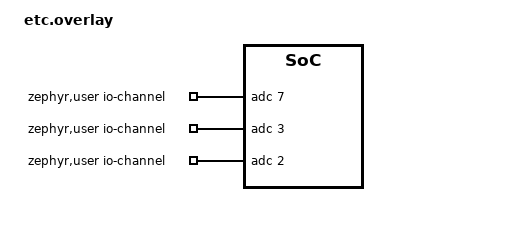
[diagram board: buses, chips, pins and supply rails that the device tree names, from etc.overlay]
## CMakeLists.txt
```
cmake_minimum_required(VERSION 3.13.1)

set(CONFIG_APPLICATION_DEFINED_SYSCALL true)

find_package(Zephyr REQUIRED HINTS $ENV{ZEPHYR_BASE})

project(etc_lwm2m)

target_sources(app PRIVATE src/main.c)
zephyr_cc_option(-Wfatal-errors)

zephyr_include_directories(src)
```

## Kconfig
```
menu "EXACT Core 2.0 LwM2M Application"

config TEST_VERSION
	string "LwM2M version"
	default "v1.0.0"

config LWM2M_USE_BOOTSTRAP
	bool "Set to true if client should use bootstrap"
	default false

config NET_DTLS_PSKID
	string "PSK ID in string format"
	default "EXACT"

config NET_DTLS_PSK
	string "PSK Key"
	default "875ba79f213ecd8c"

endmenu

menu "Zephyr Kernel"
source "$ZEPHYR_BASE/Kconfig.zephyr"
endmenu

module = ETC_LWM2M
module-str = ETC LwM2M
source "${ZEPHYR_BASE}/subsys/logging/Kconfig.template.log_config"
```

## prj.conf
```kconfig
# General config
CONFIG_NEWLIB_LIBC=y
CONFIG_NEWLIB_LIBC_FLOAT_PRINTF=y
CONFIG_ASSERT=y
CONFIG_REBOOT=y
CONFIG_RESET_ON_FATAL_ERROR=n
CONFIG_FPU=y
CONFIG_FW_INFO=y

# Heap and stacks
CONFIG_HW_STACK_PROTECTION=y

# Flash Settings
CONFIG_FLASH=y
CONFIG_FLASH_PAGE_LAYOUT=y
CONFIG_FLASH_MAP=y
CONFIG_SOC_FLASH_NRF_UICR=y
CONFIG_MPU_ALLOW_FLASH_WRITE=y
CONFIG_STREAM_FLASH_LOG_LEVEL_DBG=y

CONFIG_NET_IPV4=y
CONFIG_NET_DHCPV4=n
CONFIG_NET_IF_UNICAST_IPV4_ADDR_COUNT=3
CONFIG_NET_IF_MCAST_IPV4_ADDR_COUNT=2
```

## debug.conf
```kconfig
CONFIG_MODEM_LOG_LEVEL_DBG=y
CONFIG_MODEM_CONTEXT_VERBOSE_DEBUG=y
CONFIG_LWM2M_LOG_LEVEL_DBG=y

# CONFIG_MQTT_LOG_LEVEL_DBG=y
# CONFIG_AWS_IOT_LOG_LEVEL_DBG=y
# CONFIG_NET_CORE_LOG_LEVEL_DBG=y
# CONFIG_NET_IF_LOG_LEVEL_DBG=y
# CONFIG_NET_CONN_LOG_LEVEL_DBG=y
# CONFIG_MBEDTLS_DEBUG=y
# CONFIG_MBEDTLS_DEBUG_LEVEL=4
# CONFIG_NET_SOCKETS_LOG_LEVEL_DBG=y
# CONFIG_NET_ROUTE_LOG_LEVEL_DBG=y
# CONFIG_NET_IPV4_LOG_LEVEL_DBG=y
# CONFIG_MBEDTLS_MEMORY_DEBUG=y

# CONFIG_APP_LORA=n

# CONFIG_APP_MODEM=y
# CONFIG_APP_UI=y

# CONFIG_BQ24195_LOG_LEVEL_DBG=y
# CONFIG_I2C_SHELL=y

# CONFIG_ETC_APP_LOG_LEVEL_DBG=y
# CONFIG_LORA_LOG_LEVEL_DBG=y

# CONFIG_DATE_TIME_LOG_LEVEL_DBG=y
```

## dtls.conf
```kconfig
CONFIG_LWM2M_DTLS_SUPPORT=y
CONFIG_LWM2M_RD_CLIENT_SUPPORT=y
CONFIG_LWM2M_PEER_PORT=5684
# CONFIG_NET_SOCKETS_SOCKOPT_TLS=y

# DTLS config
CONFIG_NET_DTLS_PSKID="exact"
CONFIG_NET_DTLS_PSK="a0b1c2d3e4"
```

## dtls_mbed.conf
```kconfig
CONFIG_LWM2M_DTLS_SUPPORT=y
CONFIG_LWM2M_PEER_PORT=5684

# DTLS config
CONFIG_NET_DTLS_PSKID="bg95test"
CONFIG_NET_DTLS_PSK="a0b1c2d3e4"

# Select Zephyr mbedtls
CONFIG_MBEDTLS=y
CONFIG_MBEDTLS_TLS_VERSION_1_2=y
CONFIG_MBEDTLS_DTLS=y

# Special MbedTLS changes
CONFIG_MBEDTLS_ENABLE_HEAP=y
CONFIG_MBEDTLS_ENABLE_HEAP=y
CONFIG_MBEDTLS_HEAP_SIZE=8192
CONFIG_MBEDTLS_SSL_MAX_CONTENT_LEN=1500
CONFIG_MBEDTLS_CIPHER_CCM_ENABLED=y

# Mbed TLS support for DTLS CID
# CONFIG_MBEDTLS_SSL_PROTO_DTLS=y
# CONFIG_MBEDTLS_SSL_EXPORT_KEYS=y
# CONFIG_MBEDTLS_SSL_DTLS_CONNECTION_ID=y

# Disable RSA, we don't parse certs: saves flash/memory
CONFIG_MBEDTLS_KEY_EXCHANGE_RSA_ENABLED=n
# Enable PSK instead
CONFIG_MBEDTLS_KEY_EXCHANGE_PSK_ENABLED=y

CONFIG_NET_SOCKETS_SOCKOPT_TLS=y
CONFIG_NET_SOCKETS_TLS_MAX_CONTEXTS=4
CONFIG_NET_SOCKETS_ENABLE_DTLS=y
CONFIG_NET_SOCKETS_OFFLOAD_DISPATCHER=y
CONFIG_NET_SOCKETS_OFFLOAD_PRIORITY=50

# MbedTLS needs a larger stack
CONFIG_MAIN_STACK_SIZE=2048
CONFIG_SYSTEM_WORKQUEUE_STACK_SIZE=2048
```

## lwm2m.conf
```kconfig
CONFIG_LWM2M=y
CONFIG_LWM2M_VERSION_1_1=y
CONFIG_ZCBOR_CANONICAL=y
CONFIG_LWM2M_RW_SENML_CBOR_SUPPORT=y
CONFIG_LWM2M_DNS_SUPPORT=y
CONFIG_LWM2M_RD_CLIENT_SUPPORT_BOOTSTRAP=n
CONFIG_LWM2M_LOG_LEVEL_DBG=y
CONFIG_LWM2M_COAP_BLOCK_SIZE=512
CONFIG_LWM2M_IPSO_SUPPORT=y
CONFIG_LWM2M_IPSO_TEMP_SENSOR=y
CONFIG_LWM2M_IPSO_LIGHT_CONTROL=y
CONFIG_LWM2M_IPSO_TIMER=y
CONFIG_LWM2M_SHELL=y
CONFIG_LWM2M_USE_BOOTSTRAP=n

CONFIG_COAP_INIT_ACK_TIMEOUT_MS=20000
```

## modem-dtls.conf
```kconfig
CONFIG_MODEM_QUECTEL_BG95_M3_PSK_ID="exact-dtls"
#CONFIG_MODEM_QUECTEL_BG95_M3_PSK_KEY="e4d3c2b1a0"
CONFIG_MODEM_QUECTEL_BG95_M3_PSK_KEY="a0b1c2d3e4"
```

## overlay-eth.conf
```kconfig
CONFIG_ENTROPY_GENERATOR=y
CONFIG_INIT_STACKS=y

CONFIG_NET_LOG=y
CONFIG_LOG=y

CONFIG_NET_STATISTICS=y

CONFIG_NET_SHELL=y

CONFIG_NET_L2_ETHERNET=y

CONFIG_ETH_NATIVE_POSIX=y
CONFIG_ETH_NATIVE_POSIX_RANDOM_MAC=y
#CONFIG_ETH_NATIVE_POSIX_MAC_ADDR="00:00:5e:00:53:ff"
```

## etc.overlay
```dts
/ {
	chosen {
	};
};


/* A7 = P0.31 = AIN7 - ADC_AMB */ 
/* A3 = P0.5  = AIN3 - ADC_BATT*/
/* A2 = P0.4 = AIN2 - ADC_TH*/
/ {
	zephyr,user {
		/* adjust channel number according to pinmux in board.dts */
		io-channels = <&adc 7>, <&adc 3>, <&adc 2>;
	};
};
```

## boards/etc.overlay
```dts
/ {
	chosen {
		nordic,pm-ext-flash = &mx25r1635;
	};
};

/* A7 = P0.31 = AIN7 - ADC_AMB */ 
/* A3 = P0.5  = AIN3 - ADC_BATT*/
/* A2 = P0.4 = AIN2 - ADC_TH*/
/ {
	zephyr,user {
		/* adjust channel number according to pinmux in board.dts */
		io-channels = <&adc 7>, <&adc 3>, <&adc 2>;
	};
};

&adc {
	#address-cells = <1>;
	#size-cells = <0>;

	channel@7 {
		reg = <7>;
		zephyr,gain = "ADC_GAIN_1_5";
		zephyr,reference = "ADC_REF_INTERNAL";
		zephyr,acquisition-time = <ADC_ACQ_TIME_DEFAULT>;
		zephyr,input-positive = <NRF_SAADC_AIN6>; 
		zephyr,resolution = <12>;
		zephyr,oversampling = <8>;
	};

	channel@3 {
		reg = <3>;
		zephyr,gain = "ADC_GAIN_1_5";
		zephyr,reference = "ADC_REF_INTERNAL";
		zephyr,acquisition-time = <ADC_ACQ_TIME_DEFAULT>;
		zephyr,input-positive = <NRF_SAADC_AIN3>;
		zephyr,resolution = <12>;
		zephyr,oversampling = <8>;
	};

	channel@2 {
		reg = <2>;
		zephyr,gain = "ADC_GAIN_1_5";
		zephyr,reference = "ADC_REF_INTERNAL";
		zephyr,acquisition-time = <ADC_ACQ_TIME_DEFAULT>;
		zephyr,input-positive = <NRF_SAADC_AIN2>;
		zephyr,resolution = <12>;
		zephyr,oversampling = <8>;
	};
};
```

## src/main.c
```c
/*
 * Copyright (c) 2017 Linaro Limited
 * Copyright (c) 2017-2019 Foundries.io
 *
 * SPDX-License-Identifier: Apache-2.0
 */

#define LOG_MODULE_NAME net_lwm2m_client_app
#define LOG_LEVEL LOG_LEVEL_DBG

#include <zephyr/logging/log.h>
LOG_MODULE_REGISTER(LOG_MODULE_NAME);

#include <zephyr/drivers/hwinfo.h>
#include <zephyr/kernel.h>
#include <zephyr/drivers/gpio.h>
#include <zephyr/drivers/sensor.h>
#include <zephyr/net/lwm2m.h>
#include <zephyr/sys/util.h>
#include <stdio.h>

#include "modem_api.h"

#define APP_BANNER "Run LWM2M client"


//#define SERVER_ADDR "datagram-ingress.alaska.ioterop.com"
#define SERVER_ADDR "us.iot.avsystem.cloud"
// From Google DNS through native_posix
//#define SERVER_ADDR "13.53.112.42"
#define SERVER_PORT CONFIG_LWM2M_PEER_PORT

#if CONFIG_LWM2M_USE_BOOTSTRAP
#define EP_NAME "bg95test_bt"
#else
#if CONFIG_LWM2M_DTLS_SUPPORT
#define EP_NAME "exact-dtls"
#else
#define EP_NAME "exact"
#endif
#endif

#define WAIT_TIME	K_SECONDS(10)
#define CONNECT_TIME	K_SECONDS(10)

#define CLIENT_MANUFACTURER	"Zephyr"
#define CLIENT_MODEL_NUMBER	"OMA-LWM2M Sample Client"
#define CLIENT_SERIAL_NUMBER	"345000123"
#define CLIENT_FIRMWARE_VER	"1.0"
#define CLIENT_DEVICE_TYPE	"OMA-LWM2M Client"
#define CLIENT_HW_VER		"1.0.1"

#define LIGHT_NAME		"Test light"
#define TIMER_NAME		"Test timer"

#define ENDPOINT_LEN		32

/* If led0 gpios doesn't exist the relevant IPSO object will simply not be created. */
static const struct gpio_dt_spec led_gpio = GPIO_DT_SPEC_GET_OR(DT_ALIAS(led0), gpios, {});

static uint16_t ssid = CONFIG_LWM2M_SERVER_DEFAULT_SSID;

static uint8_t bat_idx = LWM2M_DEVICE_PWR_SRC_TYPE_BAT_INT;
static int bat_mv = 3800;
static int bat_ma = 125;
static uint8_t usb_idx = LWM2M_DEVICE_PWR_SRC_TYPE_USB;
static int usb_mv = 5000;
static int usb_ma = 900;
static uint8_t bat_level = 95;
static uint8_t bat_status = LWM2M_DEVICE_BATTERY_STATUS_CHARGING;
static int mem_free = 15;
static int mem_total = 25;

static uint32_t led_state;

static struct lwm2m_ctx client;

#if defined(CONFIG_LWM2M_FIRMWARE_UPDATE_PULL_SUPPORT)
/* Array with supported PULL firmware update protocols */
static uint8_t supported_protocol[1];
#endif

#if defined(CONFIG_LWM2M_DTLS_SUPPORT)
#define TLS_TAG			1

static unsigned char client_psk[(sizeof(CONFIG_NET_DTLS_PSK) - 1) / 2];

static const char client_psk_id[] = CONFIG_NET_DTLS_PSKID;
#endif /* CONFIG_LWM2M_DTLS_SUPPORT */

static struct k_sem quit_lock;

#if defined(CONFIG_LWM2M_FIRMWARE_UPDATE_OBJ_SUPPORT)
static uint8_t firmware_buf[64];
#endif

/* TODO: Move to a pre write hook that can handle ret codes once available */
static int led_on_off_cb(uint16_t obj_inst_id, uint16_t res_id, uint16_t res_inst_id,
			 uint8_t *data, uint16_t data_len,
			 bool last_block, size_t total_size)
{
	int ret = 0;
	uint32_t led_val;

	led_val = *(uint8_t *) data;
	if (led_val != led_state) {
		ret = gpio_pin_set_dt(&led_gpio, (int) led_val);
		if (ret) {
			/*
			 * We need an extra hook in LWM2M to better handle
			 * failures before writing the data value and not in
			 * post_write_cb, as there is not much that can be
			 * done here.
			 */
			LOG_ERR("Fail to write to GPIO %d", led_gpio.pin);
			return ret;
		}

		led_state = led_val;
		/* TODO: Move to be set by an internal post write function */
		lwm2m_engine_set_s32("3311/0/5852", 0);
	}

	return ret;
}

static int init_led_device(void)
{
	int ret;

	if (!device_is_ready(led_gpio.port)) {
		return -ENODEV;
	}

	ret = gpio_pin_configure_dt(&led_gpio, GPIO_OUTPUT_INACTIVE);
	if (ret) {
		return ret;
	}

	return 0;
}

static int device_reboot_cb(uint16_t obj_inst_id,
			    uint8_t *args, uint16_t args_len)
{
	LOG_INF("DEVICE: REBOOT");
	/* Add an error for testing */
	lwm2m_device_add_err(LWM2M_DEVICE_ERROR_LOW_POWER);
	/* Change the battery voltage for testing */
	lwm2m_engine_set_s32("3/0/7/0", (bat_mv - 1));

	return 0;
}

static int device_factory_default_cb(uint16_t obj_inst_id,
				     uint8_t *args, uint16_t args_len)
{
	LOG_INF("DEVICE: FACTORY DEFAULT");
	/* Add an error for testing */
	lwm2m_device_add_err(LWM2M_DEVICE_ERROR_GPS_FAILURE);
	/* Change the USB current for testing */
	lwm2m_engine_set_s32("3/0/8/1", (usb_ma - 1));

	return 0;
}

#if defined(CONFIG_LWM2M_FIRMWARE_UPDATE_PULL_SUPPORT)
static int firmware_update_cb(uint16_t obj_inst_id,
			      uint8_t *args, uint16_t args_len)
{
	LOG_DBG("UPDATE");

	/* TODO: kick off update process */

	/* If success, set the update result as RESULT_SUCCESS.
	 * In reality, it should be set at function lwm2m_setup()
	 */
	lwm2m_engine_set_u8("5/0/3", STATE_IDLE);
	lwm2m_engine_set_u8("5/0/5", RESULT_SUCCESS);
	return 0;
}
#endif


static void *temperature_get_buf(uint16_t obj_inst_id, uint16_t res_id,
				 uint16_t res_inst_id, size_t *data_len)
{
	/* Last read temperature value, will use 25.5C if no sensor available */
	static double v = 25.5;
	const struct device *dev = NULL;

#if defined(CONFIG_FXOS8700_TEMP)
	dev = DEVICE_DT_GET_ONE(nxp_fxos8700);

	if (!device_is_ready(dev)) {
		LOG_ERR("%s: device not ready.", dev->name);
		return;
	}
#endif

	if (dev != NULL) {
		struct sensor_value val;

		if (sensor_sample_fetch(dev)) {
			LOG_ERR("temperature data update failed");
		}

		sensor_channel_get(dev, SENSOR_CHAN_DIE_TEMP, &val);

		v = sensor_value_to_double(&val);

		LOG_DBG("LWM2M temperature set to %f", v);
	}

	/* echo the value back through the engine to update min/max values */
	lwm2m_engine_set_float("3303/0/5700", &v);
	*data_len = sizeof(v);
	return &v;
}


#if defined(CONFIG_LWM2M_FIRMWARE_UPDATE_OBJ_SUPPORT)
static void *firmware_get_buf(uint16_t obj_inst_id, uint16_t res_id,
			      uint16_t res_inst_id, size_t *data_len)
{
	*data_len = sizeof(firmware_buf);
	return firmware_buf;
}

static int firmware_block_received_cb(uint16_t obj_inst_id,
				      uint16_t res_id, uint16_t res_inst_id,
				      uint8_t *data, uint16_t data_len,
				      bool last_block, size_t total_size)
{
	LOG_INF("FIRMWARE: BLOCK RECEIVED: len:%u last_block:%d",
		data_len, last_block);
	return 0;
}
#endif

/* An example data validation callback. */
static int timer_on_off_validate_cb(uint16_t obj_inst_id, uint16_t res_id,
				    uint16_t res_inst_id, uint8_t *data,
				    uint16_t data_len, bool last_block,
				    size_t total_size)
{
	LOG_INF("Validating On/Off data");

	if (data_len != 1) {
		return -EINVAL;
	}

	if (*data > 1) {
		return -EINVAL;
	}

	return 0;
}

static int timer_digital_state_cb(uint16_t obj_inst_id,
				  uint16_t res_id, uint16_t res_inst_id,
				  uint8_t *data, uint16_t data_len,
				  bool last_block, size_t total_size)
{
	bool *digital_state = (bool *)data;

	if (*digital_state) {
		LOG_INF("TIMER: ON");
	} else {
		LOG_INF("TIMER: OFF");
	}

	return 0;
}

static int lwm2m_setup(void)
{
	int ret;
	char *server_url;
	uint16_t server_url_len;

	/* setup SECURITY object */

	/* Server URL */
	ret = lwm2m_engine_get_res_buf("0/0/0", (void **)&server_url, &server_url_len, NULL, NULL);
	if (ret < 0) {
		return ret;
	}
	LOG_INF("server_url %d %p", server_url_len, server_url);
	server_url_len = snprintk(server_url, server_url_len, "coap%s//%s%s%s:%u",
				  IS_ENABLED(CONFIG_LWM2M_DTLS_SUPPORT) ? "s:" : ":",
				  strchr(SERVER_ADDR, ':') ? "[" : "", SERVER_ADDR,
				  strchr(SERVER_ADDR, ':') ? "]" : "", SERVER_PORT);
	LOG_INF("Server URL %s", server_url);
	lwm2m_engine_set_res_data_len("0/0/0", server_url_len + 1);

	/* Security Mode */
	lwm2m_engine_set_u8("0/0/2", IS_ENABLED(CONFIG_LWM2M_DTLS_SUPPORT) ? 0 : 3);
#if defined(CONFIG_LWM2M_DTLS_SUPPORT)
	hex2bin(CONFIG_NET_DTLS_PSK, sizeof(CONFIG_NET_DTLS_PSK) - 1,
			client_psk, sizeof(client_psk));
	lwm2m_engine_set_string("0/0/3", (char *)client_psk_id);
	lwm2m_engine_set_opaque("0/0/5",
				(void *)client_psk, sizeof(client_psk));
#endif /* CONFIG_LWM2M_DTLS_SUPPORT */

#if CONFIG_LWM2M_USE_BOOTSTRAP
	/* Mark 1st instance of security object as a bootstrap server */
	lwm2m_engine_set_u8("0/0/1", 1);

	/* Create 2nd instance of security object needed for bootstrap */
	lwm2m_engine_create_obj_inst("0/1");
#else
	/* Match Security object instance with a Server object instance with
	 * Short Server ID.
	 */
	lwm2m_engine_set_u16("0/0/10", CONFIG_LWM2M_SERVER_DEFAULT_SSID);
	lwm2m_engine_create_obj_inst("1/0");
	lwm2m_engine_set_u16("1/0/0", CONFIG_LWM2M_SERVER_DEFAULT_SSID);
#endif

	/* setup SERVER object */

	/* setup DEVICE object */

	lwm2m_engine_set_res_buf("3/0/0", CLIENT_MANUFACTURER,
				 sizeof(CLIENT_MANUFACTURER),
				 sizeof(CLIENT_MANUFACTURER),
				 LWM2M_RES_DATA_FLAG_RO);
	lwm2m_engine_set_res_buf("3/0/1", CLIENT_MODEL_NUMBER,
				 sizeof(CLIENT_MODEL_NUMBER),
				 sizeof(CLIENT_MODEL_NUMBER),
				 LWM2M_RES_DATA_FLAG_RO);
	lwm2m_engine_set_res_buf("3/0/2", CLIENT_SERIAL_NUMBER,
				 sizeof(CLIENT_SERIAL_NUMBER),
				 sizeof(CLIENT_SERIAL_NUMBER),
				 LWM2M_RES_DATA_FLAG_RO);
	lwm2m_engine_set_res_buf("3/0/3", CLIENT_FIRMWARE_VER,
				 sizeof(CLIENT_FIRMWARE_VER),
				 sizeof(CLIENT_FIRMWARE_VER),
				 LWM2M_RES_DATA_FLAG_RO);
	lwm2m_engine_register_exec_callback("3/0/4", device_reboot_cb);
	lwm2m_engine_register_exec_callback("3/0/5", device_factory_default_cb);
	lwm2m_engine_set_res_buf("3/0/9", &bat_level, sizeof(bat_level),
				 sizeof(bat_level), 0);
	lwm2m_engine_set_res_buf("3/0/10", &mem_free, sizeof(mem_free),
				 sizeof(mem_free), 0);
	lwm2m_engine_set_res_buf("3/0/17", CLIENT_DEVICE_TYPE,
				 sizeof(CLIENT_DEVICE_TYPE),
				 sizeof(CLIENT_DEVICE_TYPE),
				 LWM2M_RES_DATA_FLAG_RO);
	lwm2m_engine_set_res_buf("3/0/18", CLIENT_HW_VER,
				 sizeof(CLIENT_HW_VER), sizeof(CLIENT_HW_VER),
				 LWM2M_RES_DATA_FLAG_RO);
	lwm2m_engine_set_res_buf("3/0/20", &bat_status, sizeof(bat_status),
				 sizeof(bat_status), 0);
	lwm2m_engine_set_res_buf("3/0/21", &mem_total, sizeof(mem_total),
				 sizeof(mem_total), 0);

	/* add power source resource instances */
	lwm2m_engine_create_res_inst("3/0/6/0");
	lwm2m_engine_set_res_buf("3/0/6/0", &bat_idx, sizeof(bat_idx),
				 sizeof(bat_idx), 0);

	lwm2m_engine_create_res_inst("3/0/7/0");
	lwm2m_engine_set_res_buf("3/0/7/0", &bat_mv, sizeof(bat_mv),
				 sizeof(bat_mv), 0);
	lwm2m_engine_create_res_inst("3/0/8/0");
	lwm2m_engine_set_res_buf("3/0/8/0", &bat_ma, sizeof(bat_ma),
				 sizeof(bat_ma), 0);
	lwm2m_engine_create_res_inst("3/0/6/1");
	lwm2m_engine_set_res_buf("3/0/6/1", &usb_idx, sizeof(usb_idx),
				 sizeof(usb_idx), 0);
	lwm2m_engine_create_res_inst("3/0/7/1");
	lwm2m_engine_set_res_buf("3/0/7/1", &usb_mv, sizeof(usb_mv),
				 sizeof(usb_mv), 0);
	lwm2m_engine_create_res_inst("3/0/8/1");
	lwm2m_engine_set_res_buf("3/0/8/1", &usb_ma, sizeof(usb_ma),
				 sizeof(usb_ma), 0);

	/* setup FIRMWARE object */

#if defined(CONFIG_LWM2M_FIRMWARE_UPDATE_OBJ_SUPPORT)
	/* setup data buffer for block-wise transfer */
	lwm2m_engine_register_pre_write_callback("5/0/0", firmware_get_buf);
	lwm2m_firmware_set_write_cb(firmware_block_received_cb);
#endif
#if defined(CONFIG_LWM2M_FIRMWARE_UPDATE_PULL_SUPPORT)
	lwm2m_engine_create_res_inst("5/0/8/0");
	lwm2m_engine_set_res_buf("5/0/8/0", &supported_protocol[0],
				 sizeof(supported_protocol[0]),
				 sizeof(supported_protocol[0]), 0);

	lwm2m_firmware_set_update_cb(firmware_update_cb);
#endif

	/* setup TEMP SENSOR object */
	lwm2m_engine_create_obj_inst("3303/0");
	lwm2m_engine_register_read_callback("3303/0/5700", temperature_get_buf);

	/* IPSO: Light Control object */
	if (init_led_device() == 0) {
		lwm2m_engine_create_obj_inst("3311/0");
		lwm2m_engine_register_post_write_callback("3311/0/5850",
				led_on_off_cb);
		lwm2m_engine_set_res_buf("3311/0/5750", LIGHT_NAME,
					 sizeof(LIGHT_NAME),
					 sizeof(LIGHT_NAME),
					 LWM2M_RES_DATA_FLAG_RO);
	}

	/* IPSO: Timer object */
	lwm2m_engine_create_obj_inst("3340/0");
	lwm2m_engine_register_validate_callback("3340/0/5850",
			timer_on_off_validate_cb);
	lwm2m_engine_register_post_write_callback("3340/0/5543",
			timer_digital_state_cb);
	lwm2m_engine_set_res_buf("3340/0/5750", TIMER_NAME,
				 sizeof(TIMER_NAME), sizeof(TIMER_NAME),
				 LWM2M_RES_DATA_FLAG_RO);

	return 0;
}

static void rd_client_event(struct lwm2m_ctx *client,
			    enum lwm2m_rd_client_event client_event)
{
	switch (client_event) {

	case LWM2M_RD_CLIENT_EVENT_NONE:
		/* do nothing */
		break;

	case LWM2M_RD_CLIENT_EVENT_BOOTSTRAP_REG_FAILURE:
		LOG_DBG("Bootstrap registration failure!");
		break;

	case LWM2M_RD_CLIENT_EVENT_BOOTSTRAP_REG_COMPLETE:
		LOG_DBG("Bootstrap registration complete");
		break;

	case LWM2M_RD_CLIENT_EVENT_BOOTSTRAP_TRANSFER_COMPLETE:
		LOG_DBG("Bootstrap transfer complete");
		break;

	case LWM2M_RD_CLIENT_EVENT_REGISTRATION_FAILURE:
		LOG_DBG("Registration failure!");
		break;

	case LWM2M_RD_CLIENT_EVENT_REGISTRATION_COMPLETE:
		LOG_DBG("Registration complete");
		break;

	case LWM2M_RD_CLIENT_EVENT_REG_TIMEOUT:
		LOG_DBG("Registration timeout!");
		break;

	case LWM2M_RD_CLIENT_EVENT_REG_UPDATE_COMPLETE:
		LOG_DBG("Registration update complete");
		break;

	case LWM2M_RD_CLIENT_EVENT_DEREGISTER_FAILURE:
		LOG_DBG("Deregister failure!");
		break;

	case LWM2M_RD_CLIENT_EVENT_DISCONNECT:
		LOG_DBG("Disconnected");
		break;

	case LWM2M_RD_CLIENT_EVENT_QUEUE_MODE_RX_OFF:
		LOG_DBG("Queue mode RX window closed");
		break;

	case LWM2M_RD_CLIENT_EVENT_ENGINE_SUSPENDED:
		LOG_DBG("LwM2M engine suspended");
		break;

	case LWM2M_RD_CLIENT_EVENT_NETWORK_ERROR:
		LOG_ERR("LwM2M engine reported a network error.");
		lwm2m_rd_client_stop(client, rd_client_event, true);
		break;

	case LWM2M_RD_CLIENT_EVENT_REG_UPDATE:
		LOG_DBG("LwM2M registration update");
		break;
	}
}

static void observe_cb(enum lwm2m_observe_event event,
		       struct lwm2m_obj_path *path, void *user_data)
{
	char buf[LWM2M_MAX_PATH_STR_SIZE];

	switch (event) {

	case LWM2M_OBSERVE_EVENT_OBSERVER_ADDED:
		LOG_INF("Observer added for %s", lwm2m_path_log_buf(buf, path));
		break;

	case LWM2M_OBSERVE_EVENT_OBSERVER_REMOVED:
		LOG_INF("Observer removed for %s", lwm2m_path_log_buf(buf, path));
		break;

	case LWM2M_OBSERVE_EVENT_NOTIFY_ACK:
		LOG_INF("Notify acknowledged for %s", lwm2m_path_log_buf(buf, path));
		break;

	case LWM2M_OBSERVE_EVENT_NOTIFY_TIMEOUT:
		LOG_INF("Notify timeout for %s, trying registration update",
			lwm2m_path_log_buf(buf, path));

		lwm2m_rd_client_update();
		break;
	}
}

void main(void)
{
	uint32_t flags = IS_ENABLED(CONFIG_LWM2M_USE_BOOTSTRAP) ?
				LWM2M_RD_CLIENT_FLAG_BOOTSTRAP : 0;
	int ret;

	LOG_INF(APP_BANNER);

	k_sem_init(&quit_lock, 0, K_SEM_MAX_LIMIT);

	ret = lwm2m_setup();
	if (ret < 0) {
		LOG_ERR("Cannot setup LWM2M fields (%d)", ret);
		return;
	}

	(void)memset(&client, 0x0, sizeof(client));
#if defined(CONFIG_LWM2M_DTLS_SUPPORT)
	client.tls_tag = TLS_TAG;
#endif

	while(!quectel_bg95_is_ready()) {
		k_sleep(K_MSEC(500));
	}
	/* client.sec_obj_inst is 0 as a starting point */
	lwm2m_rd_client_start(&client, EP_NAME, flags, rd_client_event, observe_cb);

	k_sleep(K_SECONDS(40));

	lwm2m_engine_pause();

	k_sleep(K_SECONDS(10));
	lwm2m_engine_resume();

	k_sem_take(&quit_lock, K_FOREVER);
}
```
